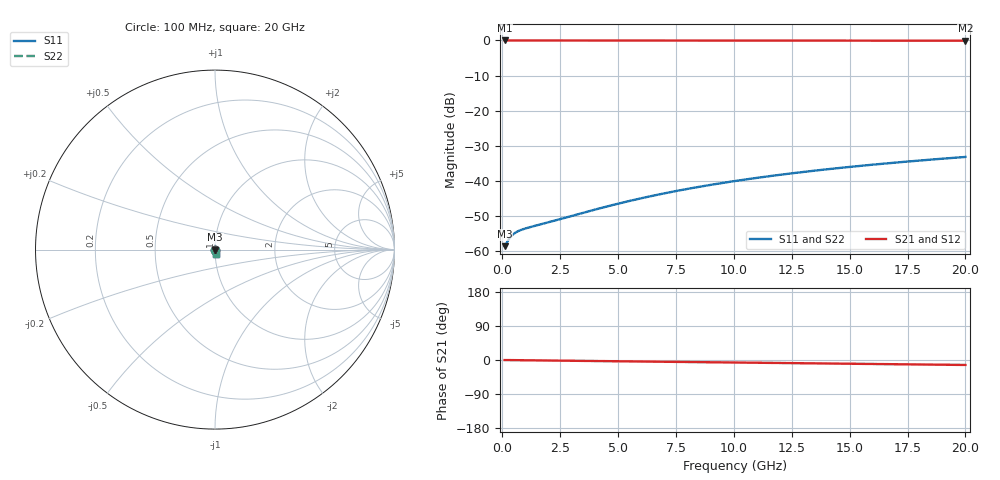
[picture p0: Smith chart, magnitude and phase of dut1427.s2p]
! Touchstone file exported from HFSS 2026.1.0
!  File:  C:/ffzhzh/LocalFiles/Ansys_Project_Files/temp_train_BSMRDL_1427_1783180305_51560.aedt
!  Generated:  11:52:51 PM Jul  4, 2026
!  Design:  BSMRDL
!  Project:  temp_train_BSMRDL_1427_1783180305_51560
! Variables:
!  h_bsmrdl = 3.34um
!  h_ox = 20um
!  h_rdl = 5um
!  h_sub = 80um
!  h_tmrdl = 5um
!  h_tsv = 80um
!  h_via = 3um
!  l_bsmrdl = 221.68um
!  l_sub = 621.68um
!  l_tmrdl = 200um
!  m_sub = 200um
!  pitch = 29.94um
!  r_tsv = 6um
!  s_tmrdl = 10um
!  w_bsmrdl = 26.83um
!  w_sub = 500um
!  w_tmrdl = 12um
!  x_tsv_center1 = 206um
!  x_tsv_center2 = 454.51um
!  x_tsv_center3 = 666.51um
!  x_tsv_center4 = 915.02um
!  x_tsv_center5 = 1127.02um
!  x_tsv_center6 = 1375.53um
# GHz S MA R 50.000000
! Terminal data exported
! Port[1] = BSM_RDL1_1_T1
! Port[2] = BSM_RDL1_1_T2
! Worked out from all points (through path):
!   200 points, 100 MHz to 20 GHz, reference 50 ohm
!   highest |S21| = -0.01 dB at 100 MHz (marker M1); lowest = -0.1 dB at 20 GHz (marker M2)
!   group delay of S21, straight-line fit = 1.81 ps
!   lowest |S11| = -58.5 dB at 100 MHz (marker M3), VSWR 1.00, Z = 50.1 + j0.0184 ohm
!   |S11| at or under -10 dB: start of sweep to end of sweep
!   |S22| runs from -58.5 to -33.1 dB; largest |S21 - S12| = 3.1e-15
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0.1  0.00119 8.9  0.9988 -0.1  0.9988 -0.1  0.00119 8.9
! Gamma 0 0 0 0
! Port Impedance 50 0 50 0
0.3  0.001524 12.9  0.9985 -0.2  0.9985 -0.2  0.001524 12.9
0.4  0.001672 10.8  0.9984 -0.3  0.9984 -0.3  0.001672 10.8
0.5  0.001789 8.0  0.9982 -0.4  0.9982 -0.4  0.001789 8.0
0.6  0.001882 5.0  0.9981 -0.4  0.9981 -0.4  0.001882 5.0
0.7  0.001956 2.1  0.998 -0.5  0.998 -0.5  0.001957 2.1
0.9  0.002075 -3.3  0.9979 -0.6  0.9979 -0.6  0.002075 -3.3
1.1  0.002173 -8.0  0.9978 -0.8  0.9978 -0.8  0.002173 -8.0
3.5  0.003556 -39.3  0.9972 -2.4  0.9972 -2.4  0.003556 -39.3
4.4  0.004263 -45.3  0.9968 -3.0  0.9968 -3.0  0.004264 -45.2
5.2  0.004959 -49.4  0.9965 -3.5  0.9965 -3.5  0.004961 -49.4
6  0.005708 -52.8  0.9962 -4.0  0.9962 -4.0  0.00571 -52.8
6.8  0.006501 -55.8  0.9959 -4.6  0.9959 -4.6  0.006503 -55.7
7.6  0.007331 -58.3  0.9956 -5.1  0.9956 -5.1  0.007333 -58.3
8.4  0.008191 -60.6  0.9953 -5.6  0.9953 -5.6  0.008193 -60.6
10.1  0.0101 -64.9  0.9946 -6.7  0.9946 -6.7  0.0101 -64.9
11.7  0.01196 -68.3  0.994 -7.8  0.994 -7.8  0.01196 -68.3
13.4  0.01399 -71.6  0.9935 -8.9  0.9935 -8.9  0.01399 -71.5
15  0.01592 -74.3  0.993 -9.9  0.993 -9.9  0.01593 -74.3
16.7  0.018 -76.9  0.9925 -11.0  0.9925 -11.0  0.01801 -76.9
18.3  0.01997 -79.2  0.992 -12.0  0.992 -12.0  0.01998 -79.2
20  0.02208 -81.5  0.9916 -13.1  0.9916 -13.1  0.02209 -81.4
